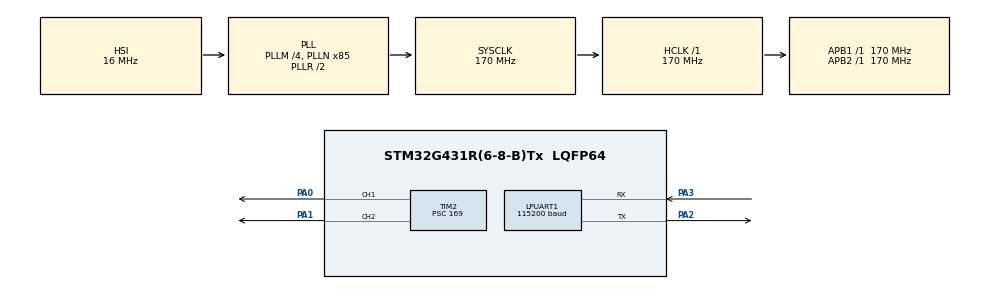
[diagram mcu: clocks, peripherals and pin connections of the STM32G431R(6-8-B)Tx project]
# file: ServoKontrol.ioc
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LPUART1.BaudRate=115200
Mcu.Family=STM32G4
Mcu.Name=STM32G431R(6-8-B)Tx
Mcu.Package=LQFP64
NVIC.LPUART1_IRQn=true\:0\:0\:false\:false\:true\:true\:true\:true
NVIC.PriorityGroup=NVIC_PRIORITYGROUP_4
PA0.Signal=S_TIM2_CH1
PA1.Signal=S_TIM2_CH2
PA2.Mode=Asynchronous
PA2.Signal=LPUART1_TX
PA3.Mode=Asynchronous
PA3.Signal=LPUART1_RX
ProjectManager.HeapSize=0x200
ProjectManager.StackSize=0x400
ProjectManager.TargetToolchain=STM32CubeIDE
RCC.ADC12Freq_Value=170000000
RCC.AHBFreq_Value=170000000
RCC.APB1Freq_Value=170000000
RCC.APB1TimFreq_Value=170000000
RCC.APB2Freq_Value=170000000
RCC.APB2TimFreq_Value=170000000
RCC.CortexFreq_Value=170000000
RCC.EXTERNAL_CLOCK_VALUE=12288000
RCC.HCLKFreq_Value=170000000
RCC.HSE_VALUE=24000000
RCC.HSI48_VALUE=48000000
RCC.HSI_VALUE=16000000
RCC.LSE_VALUE=32768
RCC.PLLM=RCC_PLLM_DIV4
RCC.PLLN=85
RCC.RTCClockSelection=RCC_RTCCLKSOURCE_LSE
RCC.SYSCLKFreq_VALUE=170000000
RCC.SYSCLKSource=RCC_SYSCLKSOURCE_PLLCLK
RCC.USBFreq_Value=170000000
RCC.VCOOutputFreq_Value=340000000
SH.S_TIM2_CH1.0=TIM2_CH1,PWM Generation1 CH1
SH.S_TIM2_CH2.0=TIM2_CH2,PWM Generation2 CH2
TIM2.Channel-PWM\ Generation1\ CH1=TIM_CHANNEL_1
TIM2.Channel-PWM\ Generation2\ CH2=TIM_CHANNEL_2
TIM2.PeriodNoDither=19999
TIM2.Prescaler=169
TIM2.PulseNoDither_1=1500
TIM2.PulseNoDither_2=1500
VP_SYS_VS_DBSignals.Mode=DisableDeadBatterySignals
VP_TIM2_VS_ClockSourceINT.Mode=Internal
board=NUCLEO-G431RB

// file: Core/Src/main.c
/* USER CODE BEGIN Header */
/**
  ******************************************************************************
  * @file           : main.c
  * @brief          : Main program body
  ******************************************************************************
  * @attention
  *
  * Copyright (c) 2026 STMicroelectronics.
  * All rights reserved.
  *
  * This software is licensed under terms that can be found in the LICENSE file
  * in the root directory of this software component.
  * If no LICENSE file comes with this software, it is provided AS-IS.
  *
  ******************************************************************************
  */
/* USER CODE END Header */
#include "main.h"

/* USER CODE BEGIN Includes */
#include <stdlib.h>
#include <stdio.h>
#include <string.h>
/* USER CODE END Includes */

/* USER CODE BEGIN PTD */
// her eksen icin ayri pid
typedef struct {
    float kp, ki, kd;
    float integral;      // hata toplami
    float onceki_hata;   // turev icin
} PID_t;
/* USER CODE END PTD */

/* USER CODE BEGIN PD */
// servo kalibrasyonu, olcerek buldum
#define SERVO_MIN_US        500     // 0 derece
#define SERVO_MAX_US        2500    // 180 derece

// kamera c270, 640x480
#define GORUNTU_GENISLIK    640
#define GORUNTU_YUKSEKLIK   480
#define PIKSEL_PER_DERECE   11.6f   // 640 / ~55 derece, sadece sanal kamera icin

#define KONTROL_PERIYOT_MS  20      // sanal mod 50 hz
#define HEDEF_ZAMAN_ASIMI   500     // ms, olcum gelmezse hedef kayip

// mekanik sinirlar, parcalar carpiyor
#define PAN_MIN   20
#define PAN_MAX   160
#define TILT_MIN  45
#define TILT_MAX  135
/* USER CODE END PD */

UART_HandleTypeDef hlpuart1;

TIM_HandleTypeDef htim2;

/* USER CODE BEGIN PV */
// uart
uint8_t rx_byte;                    // gelen karakter
char rx_buf[16];                    // komut burada birikiyor
volatile uint8_t rx_idx = 0;        // isr ve main degistiriyor
volatile uint8_t komut_hazir = 0;   // flag

// pid, simdilik sadece p
PID_t pid_pan  = {0.03f, 0.0f, 0.0f, 0.0f, 0.0f};
PID_t pid_tilt = {0.03f, 0.0f, 0.0f, 0.0f, 0.0f};

// servolarin su anki acisi
float pan_aci  = 90.0f;
float tilt_aci = 90.0f;

// sanal hedef (W komutu)
float hedef_pan  = 90.0f;
float hedef_tilt = 90.0f;

// kameradan gelen olcum (python C<x>,<y> yolluyor)
uint8_t  gercek_mod  = 0;           // 0 sanal, 1 gercek kamera
uint8_t  yeni_olcum  = 0;           // yeni kare geldi mi
uint8_t  hedef_var   = 0;           // hedef var mi
float    kam_x = GORUNTU_GENISLIK  / 2.0f;
float    kam_y = GORUNTU_YUKSEKLIK / 2.0f;
uint32_t son_olcum_ms = 0;
uint32_t onceki_olcum_ms = 0;       // dt icin

// zamanlama
uint32_t son_kontrol   = 0;
uint32_t son_telemetri = 0;
/* USER CODE END PV */

void SystemClock_Config(void);
static void MX_GPIO_Init(void);
static void MX_TIM2_Init(void);
static void MX_LPUART1_UART_Init(void);

/* USER CODE BEGIN 0 */
// aci (0-180) -> darbe genisligi (us)
void servo_aci_ayarla(uint32_t kanal, uint8_t aci)
{
    if (aci > 180) aci = 180;
    uint32_t darbe = SERVO_MIN_US + ((uint32_t)aci * (SERVO_MAX_US - SERVO_MIN_US)) / 180;
    __HAL_TIM_SET_COMPARE(&htim2, kanal, darbe);
}

// iki eksen de bunu kullaniyor
float pid_hesapla(PID_t *pid, float hata, float dt)
{
    pid->integral += hata * dt;
    float turev = (hata - pid->onceki_hata) / dt;
    pid->onceki_hata = hata;
    return pid->kp * hata + pid->ki * pid->integral + pid->kd * turev;
}

// kamerasiz test icin, hedef goruntude nerede olurdu
void sanal_kamera(float *x, float *y)
{
    *x = GORUNTU_GENISLIK  / 2.0f + (hedef_pan  - pan_aci)  * PIKSEL_PER_DERECE;
    *y = GORUNTU_YUKSEKLIK / 2.0f + (hedef_tilt - tilt_aci) * PIKSEL_PER_DERECE;
}

// tek pid adimi
void takip_adimi(float x, float y, float dt)
{
    // hata = merkezden uzaklik (px)
    float hata_x = x - GORUNTU_GENISLIK  / 2.0f;
    float hata_y = y - GORUNTU_YUKSEKLIK / 2.0f;

    pan_aci  += pid_hesapla(&pid_pan,  hata_x, dt);
    tilt_aci += pid_hesapla(&pid_tilt, hata_y, dt);

    // sinirla
    if (pan_aci  < PAN_MIN)  pan_aci  = PAN_MIN;
    if (pan_aci  > PAN_MAX)  pan_aci  = PAN_MAX;
    if (tilt_aci < TILT_MIN) tilt_aci = TILT_MIN;
    if (tilt_aci > TILT_MAX) tilt_aci = TILT_MAX;

    servo_aci_ayarla(TIM_CHANNEL_1, (uint8_t)(pan_aci  + 0.5f));   // +0.5 yuvarlama
    servo_aci_ayarla(TIM_CHANNEL_2, (uint8_t)(tilt_aci + 0.5f));
}
/* USER CODE END 0 */

int main(void)
{

  /* MCU Configuration--------------------------------------------------------*/

  /* Reset of all peripherals, Initializes the Flash interface and the Systick. */
  HAL_Init();

  /* Configure the system clock */
  SystemClock_Config();

  /* Initialize all configured peripherals */
  MX_GPIO_Init();
  MX_TIM2_Init();
  MX_LPUART1_UART_Init();
  /* USER CODE BEGIN 2 */
  HAL_TIM_PWM_Start(&htim2, TIM_CHANNEL_1);      // pan
  HAL_TIM_PWM_Start(&htim2, TIM_CHANNEL_2);      // tilt
  HAL_UART_Receive_IT(&hlpuart1, &rx_byte, 1);   // uart dinle
  son_kontrol = HAL_GetTick();
  /* USER CODE END 2 */

  /* Infinite loop */
  while (1)
  {

    /* USER CODE BEGIN 3 */

    // komutlar: C<x>,<y> kamera, N hedef yok, W<p>,<t> sanal test, K<kp> kazanc (K30 = 0.030)
    if (komut_hazir)
    {
        char cmd = rx_buf[0];
        char *v  = strchr(rx_buf, ',');
        char msg[48];
        int len = 0;

        if (cmd == 'C' && v)
        {
            kam_x = (float)atoi(rx_buf + 1);
            kam_y = (float)atoi(v + 1);
            gercek_mod   = 1;
            hedef_var    = 1;
            yeni_olcum   = 1;
            son_olcum_ms = HAL_GetTick();
        }
        else if (cmd == 'N')
        {
            gercek_mod = 1;
            hedef_var  = 0;
        }
        else if (cmd == 'K')
        {
            float yeni_kp = atoi(rx_buf + 1) / 1000.0f;
            pid_pan.kp  = yeni_kp;
            pid_tilt.kp = yeni_kp;
            len = snprintf(msg, sizeof(msg), "Kp: %d/1000\r\n", atoi(rx_buf + 1));
        }
        else if (cmd == 'W' && v)
        {
            hedef_pan  = (float)atoi(rx_buf + 1);
            hedef_tilt = (float)atoi(v + 1);
            gercek_mod = 0;
            len = snprintf(msg, sizeof(msg), "Hedef: %d,%d\r\n", (int)hedef_pan, (int)hedef_tilt);
        }
        else
        {
            len = snprintf(msg, sizeof(msg), "Hata: C x,y / N / W p,t / K kp\r\n");
        }

        if (len > 0) HAL_UART_Transmit(&hlpuart1, (uint8_t *)msg, len, 100);
        rx_idx = 0;
        komut_hazir = 0;   // en son indir, race condition
    }

    if (gercek_mod)
    {
        // pid sadece yeni kare gelince. kamera ~10 fps, eski olcumle 50 hz
        // calisirsa ayni hatayi birkac kez duzeltip hedefi geciyor
        if (yeni_olcum)
        {
            yeni_olcum = 0;
            uint32_t simdi = son_olcum_ms;
            float dt = (simdi - onceki_olcum_ms) / 1000.0f;
            if (dt <= 0.0f || dt > 0.5f) dt = 0.1f;   // ilk olcum
            onceki_olcum_ms = simdi;
            takip_adimi(kam_x, kam_y, dt);
        }

        // olcum gelmiyorsa servolar oldugu yerde kalir
        if (HAL_GetTick() - son_olcum_ms > HEDEF_ZAMAN_ASIMI)
        {
            hedef_var = 0;
        }
    }
    else if (HAL_GetTick() - son_kontrol >= KONTROL_PERIYOT_MS)
    {
        // sanal kamera, 50 hz, hal_delay kullanmadim
        son_kontrol += KONTROL_PERIYOT_MS;
        float x, y;
        sanal_kamera(&x, &y);
        takip_adimi(x, y, KONTROL_PERIYOT_MS / 1000.0f);
    }

    // telemetri 200 ms, nano printf %f basmiyor o yuzden int
    if (HAL_GetTick() - son_telemetri >= 200)
    {
        son_telemetri = HAL_GetTick();
        float x = kam_x, y = kam_y;
        if (!gercek_mod) sanal_kamera(&x, &y);
        char msg[64];
        int len = snprintf(msg, sizeof(msg), "%s x:%d y:%d pan:%d tilt:%d\r\n",
                           gercek_mod ? (hedef_var ? "KAM" : "YOK") : "SIM",
                           (int)x, (int)y, (int)pan_aci, (int)tilt_aci);
        HAL_UART_Transmit(&hlpuart1, (uint8_t *)msg, len, 100);
    }
  }
  /* USER CODE END 3 */
}

void SystemClock_Config(void)
{
  RCC_OscInitTypeDef RCC_OscInitStruct = {0};
  RCC_ClkInitTypeDef RCC_ClkInitStruct = {0};

  /** Configure the main internal regulator output voltage
  */
  HAL_PWREx_ControlVoltageScaling(PWR_REGULATOR_VOLTAGE_SCALE1_BOOST);

  /** Initializes the RCC Oscillators according to the specified parameters
  * in the RCC_OscInitTypeDef structure.
  */
  RCC_OscInitStruct.OscillatorType = RCC_OSCILLATORTYPE_HSI;
  RCC_OscInitStruct.HSIState = RCC_HSI_ON;
  RCC_OscInitStruct.HSICalibrationValue = RCC_HSICALIBRATION_DEFAULT;
  RCC_OscInitStruct.PLL.PLLState = RCC_PLL_ON;
  RCC_OscInitStruct.PLL.PLLSource = RCC_PLLSOURCE_HSI;
  RCC_OscInitStruct.PLL.PLLM = RCC_PLLM_DIV4;
  RCC_OscInitStruct.PLL.PLLN = 85;
  RCC_OscInitStruct.PLL.PLLP = RCC_PLLP_DIV2;
  RCC_OscInitStruct.PLL.PLLQ = RCC_PLLQ_DIV2;
  RCC_OscInitStruct.PLL.PLLR = RCC_PLLR_DIV2;
  if (HAL_RCC_OscConfig(&RCC_OscInitStruct) != HAL_OK)
  {
    Error_Handler();
  }

  /** Initializes the CPU, AHB and APB buses clocks
  */
  RCC_ClkInitStruct.ClockType = RCC_CLOCKTYPE_HCLK|RCC_CLOCKTYPE_SYSCLK
                              |RCC_CLOCKTYPE_PCLK1|RCC_CLOCKTYPE_PCLK2;
  RCC_ClkInitStruct.SYSCLKSource = RCC_SYSCLKSOURCE_PLLCLK;
  RCC_ClkInitStruct.AHBCLKDivider = RCC_SYSCLK_DIV1;
  RCC_ClkInitStruct.APB1CLKDivider = RCC_HCLK_DIV1;
  RCC_ClkInitStruct.APB2CLKDivider = RCC_HCLK_DIV1;

  if (HAL_RCC_ClockConfig(&RCC_ClkInitStruct, FLASH_LATENCY_4) != HAL_OK)
  {
    Error_Handler();
  }
}

static void MX_LPUART1_UART_Init(void)
{

  hlpuart1.Instance = LPUART1;
  hlpuart1.Init.BaudRate = 115200;
  hlpuart1.Init.WordLength = UART_WORDLENGTH_8B;
  hlpuart1.Init.StopBits = UART_STOPBITS_1;
  hlpuart1.Init.Parity = UART_PARITY_NONE;
  hlpuart1.Init.Mode = UART_MODE_TX_RX;
  hlpuart1.Init.HwFlowCtl = UART_HWCONTROL_NONE;
  hlpuart1.Init.OneBitSampling = UART_ONE_BIT_SAMPLE_DISABLE;
  hlpuart1.Init.ClockPrescaler = UART_PRESCALER_DIV1;
  hlpuart1.AdvancedInit.AdvFeatureInit = UART_ADVFEATURE_NO_INIT;
  if (HAL_UART_Init(&hlpuart1) != HAL_OK)
  {
    Error_Handler();
  }
  if (HAL_UARTEx_SetTxFifoThreshold(&hlpuart1, UART_TXFIFO_THRESHOLD_1_8) != HAL_OK)
  {
    Error_Handler();
  }
  if (HAL_UARTEx_SetRxFifoThreshold(&hlpuart1, UART_RXFIFO_THRESHOLD_1_8) != HAL_OK)
  {
    Error_Handler();
  }
  if (HAL_UARTEx_DisableFifoMode(&hlpuart1) != HAL_OK)
  {
    Error_Handler();
  }

}

static void MX_TIM2_Init(void)
{

  TIM_ClockConfigTypeDef sClockSourceConfig = {0};
  TIM_MasterConfigTypeDef sMasterConfig = {0};
  TIM_OC_InitTypeDef sConfigOC = {0};

  htim2.Instance = TIM2;
  htim2.Init.Prescaler = 169;
  htim2.Init.CounterMode = TIM_COUNTERMODE_UP;
  htim2.Init.Period = 19999;
  htim2.Init.ClockDivision = TIM_CLOCKDIVISION_DIV1;
  htim2.Init.AutoReloadPreload = TIM_AUTORELOAD_PRELOAD_DISABLE;
  if (HAL_TIM_Base_Init(&htim2) != HAL_OK)
  {
    Error_Handler();
  }
  sClockSourceConfig.ClockSource = TIM_CLOCKSOURCE_INTERNAL;
  if (HAL_TIM_ConfigClockSource(&htim2, &sClockSourceConfig) != HAL_OK)
  {
    Error_Handler();
  }
  if (HAL_TIM_PWM_Init(&htim2) != HAL_OK)
  {
    Error_Handler();
  }
  sMasterConfig.MasterOutputTrigger = TIM_TRGO_RESET;
  sMasterConfig.MasterSlaveMode = TIM_MASTERSLAVEMODE_DISABLE;
  if (HAL_TIMEx_MasterConfigSynchronization(&htim2, &sMasterConfig) != HAL_OK)
  {
    Error_Handler();
  }
  sConfigOC.OCMode = TIM_OCMODE_PWM1;
  sConfigOC.Pulse = 1500;
  sConfigOC.OCPolarity = TIM_OCPOLARITY_HIGH;
  sConfigOC.OCFastMode = TIM_OCFAST_DISABLE;
  if (HAL_TIM_PWM_ConfigChannel(&htim2, &sConfigOC, TIM_CHANNEL_1) != HAL_OK)
  {
    Error_Handler();
  }
  if (HAL_TIM_PWM_ConfigChannel(&htim2, &sConfigOC, TIM_CHANNEL_2) != HAL_OK)
  {
    Error_Handler();
  }
  HAL_TIM_MspPostInit(&htim2);

}

static void MX_GPIO_Init(void)
{

  /* GPIO Ports Clock Enable */
  __HAL_RCC_GPIOA_CLK_ENABLE();

}

/* USER CODE BEGIN 4 */
void HAL_UART_RxCpltCallback(UART_HandleTypeDef *huart)
{
    if (huart->Instance == LPUART1)
    {
        if (!komut_hazir)   // main isini bitirmeden yazma
        {
            if (rx_byte == '\r' || rx_byte == '\n')
            {
                if (rx_idx > 0)
                {
                    rx_buf[rx_idx] = '\0';
                    komut_hazir = 1;
                }
            }
            else if (rx_idx < sizeof(rx_buf) - 1)   // tasma kontrolu
            {
                rx_buf[rx_idx++] = rx_byte;
            }
        }
        HAL_UART_Receive_IT(&hlpuart1, &rx_byte, 1);   // tekrar dinlemek icin
    }
}

/* USER CODE END 4 */

void Error_Handler(void)
{
  __disable_irq();
  while (1)
  {
  }
}
